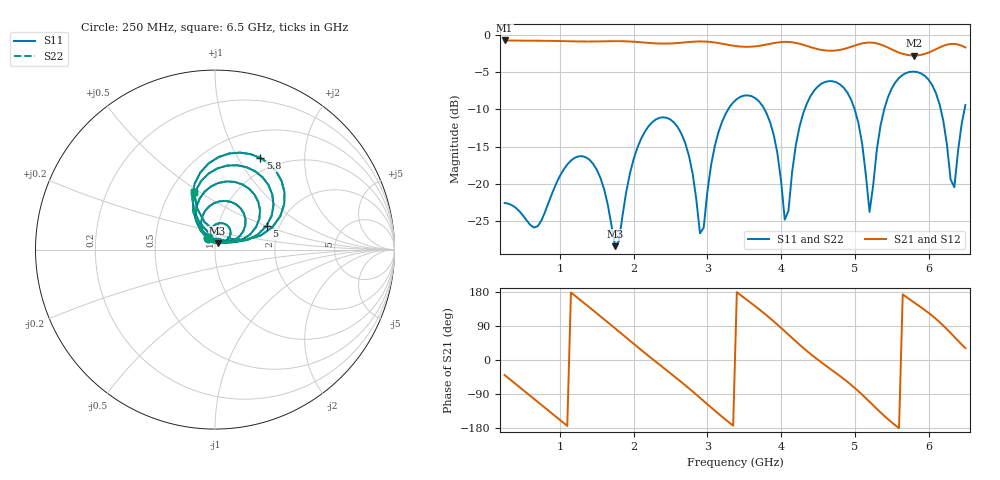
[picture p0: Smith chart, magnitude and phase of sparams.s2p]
! NobuRF kit-fr4-50-r2-line48: ports 1 "p1", 2 "p2"; 15200 + 15200 steps
# GHz S RI R 50
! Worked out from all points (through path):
!   126 points, 250 MHz to 6.5 GHz, reference 50 ohm
!   highest |S21| = -0.68 dB at 250 MHz (marker M1); lowest = -2.7 dB at 5.8 GHz (marker M2)
!   group delay of S21, straight-line fit = 446 ps
!   lowest |S11| = -28.5 dB at 1.75 GHz (marker M3), VSWR 1.08, Z = 51.3 + j3.59 ohm
!   |S11| at or under -10 dB: start of sweep to 3.282 GHz; 3.775 GHz to 4.32 GHz (544.3 MHz wide, 13.4 % of centre); 5 GHz to 5.398 GHz (398.4 MHz wide, 7.66 % of centre)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
!   |S22| runs from -28.5 to -4.9 dB; largest |S21 - S12| = 1.6e-07
!   S11 on the Smith chart (normalised r, x): 250 MHz: 0.92, +0.12; 5 GHz: 1.71, +0.50; 5.8 GHz: 0.83, +1.25; 6.5 GHz: 0.66, +0.47
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0.25  -0.0372 0.0638  0.7124 -0.5897  0.7124 -0.5897  -0.0372 0.0638
0.7  -0.00727 0.051  -0.3245 -0.8615  -0.3245 -0.8615  -0.00727 0.051
1  -0.0243 0.1098  -0.8505 -0.3412  -0.8505 -0.3412  -0.0243 0.1098
1.3  0.0561 0.1424  -0.8227 0.39  -0.8227 0.39  0.0561 0.1424
1.75  0.0145 0.0349  0.1064 0.9084  0.1064 0.9084  0.0145 0.0349
2.05  -0.0771 0.1559  0.7412 0.5163  0.7412 0.5163  -0.0771 0.1559
2.35  0.0587 0.2714  0.8622 -0.1854  0.8622 -0.1854  0.0587 0.2714
2.7  0.1574 0.1018  0.3546 -0.8249  0.3546 -0.8249  0.1574 0.1018
2.9  0.0275 0.037  -0.155 -0.8972  -0.155 -0.8972  0.0275 0.037
3.15  -0.1073 0.1937  -0.6972 -0.5499  -0.6972 -0.5499  -0.1073 0.1937
3.4  0.0199 0.3715  -0.8459 0.0145  -0.8459 0.0145  0.0199 0.3715
3.85  0.2283 0.1248  -0.305 0.8227  -0.305 0.8227  0.2283 0.1248
4.05  0.0382 0.0423  0.2205 0.8773  0.2205 0.8773  0.0382 0.0423
4.25  -0.1204 0.2096  0.668 0.5707  0.668 0.5707  -0.1204 0.2096
4.45  -0.0354 0.4239  0.8115 0.1153  0.8115 0.1153  -0.0354 0.4239
5  0.287 0.1323  0.2371 -0.821  0.2371 -0.821  0.287 0.1323
5.2  0.0327 0.0554  -0.3103 -0.8399  -0.3103 -0.8399  0.0327 0.0554
5.5  -0.0818 0.4296  -0.7758 -0.2162  -0.7758 -0.2162  -0.0818 0.4296
5.8  0.2533 0.5104  -0.6487 0.3387  -0.6487 0.3387  0.2533 0.5104
6.1  0.3636 0.1857  -0.2576 0.7652  -0.2576 0.7652  0.3636 0.1857
6.35  0.0066 0.0941  0.4245 0.7666  0.4245 0.7666  0.0066 0.0941
6.5  -0.1154 0.3188  0.7086 0.4322  0.7086 0.4322  -0.1154 0.3188
